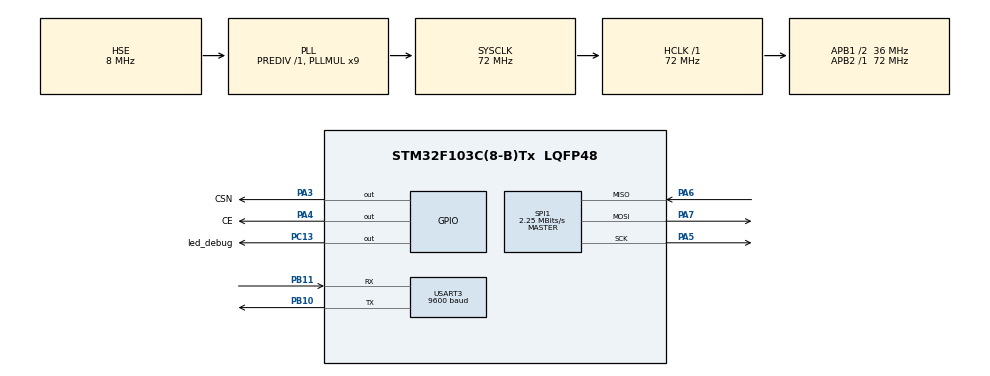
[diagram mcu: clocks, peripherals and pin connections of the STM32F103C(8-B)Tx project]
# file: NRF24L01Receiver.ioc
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Mcu.Family=STM32F1
Mcu.Name=STM32F103C(8-B)Tx
Mcu.Package=LQFP48
NVIC.PriorityGroup=NVIC_PRIORITYGROUP_4
PA13.Mode=Serial_Wire
PA13.Signal=SYS_JTMS-SWDIO
PA14.Mode=Serial_Wire
PA14.Signal=SYS_JTCK-SWCLK
PA3.GPIO_Label=CSN
PA3.Signal=GPIO_Output
PA4.GPIO_Label=CE
PA4.Signal=GPIO_Output
PA5.Mode=Full_Duplex_Master
PA5.Signal=SPI1_SCK
PA6.Mode=Full_Duplex_Master
PA6.Signal=SPI1_MISO
PA7.Mode=Full_Duplex_Master
PA7.Signal=SPI1_MOSI
PB10.Mode=Asynchronous
PB10.Signal=USART3_TX
PB11.Mode=Asynchronous
PB11.Signal=USART3_RX
PC13-TAMPER-RTC.GPIO_Label=led_debug
PC13-TAMPER-RTC.Signal=GPIO_Output
PD0-OSC_IN.Mode=HSE-External-Oscillator
PD0-OSC_IN.Signal=RCC_OSC_IN
PD1-OSC_OUT.Mode=HSE-External-Oscillator
PD1-OSC_OUT.Signal=RCC_OSC_OUT
ProjectManager.HeapSize=0x200
ProjectManager.StackSize=0x400
ProjectManager.TargetToolchain=STM32CubeIDE
RCC.AHBFreq_Value=72000000
RCC.APB1CLKDivider=RCC_HCLK_DIV2
RCC.APB1Freq_Value=36000000
RCC.APB1TimFreq_Value=72000000
RCC.APB2Freq_Value=72000000
RCC.APB2TimFreq_Value=72000000
RCC.HCLKFreq_Value=72000000
RCC.PLLMUL=RCC_PLL_MUL9
RCC.PLLSourceVirtual=RCC_PLLSOURCE_HSE
RCC.SYSCLKFreq_VALUE=72000000
RCC.SYSCLKSource=RCC_SYSCLKSOURCE_PLLCLK
RCC.USBFreq_Value=72000000
SPI1.BaudRatePrescaler=SPI_BAUDRATEPRESCALER_32
SPI1.CalculateBaudRate=2.25 MBits/s
SPI1.Direction=SPI_DIRECTION_2LINES
SPI1.Mode=SPI_MODE_MASTER
SPI1.VirtualType=VM_MASTER
USART3.BaudRate=9600
USART3.VirtualMode=VM_ASYNC
board=custom

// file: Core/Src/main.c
/* USER CODE BEGIN Header */
/**
  ******************************************************************************
  * @file           : main.c
  * @brief          : Main program body
  ******************************************************************************
  * @attention
  *
  * Copyright (c) 2023 STMicroelectronics.
  * All rights reserved.
  *
  * This software is licensed under terms that can be found in the LICENSE file
  * in the root directory of this software component.
  * If no LICENSE file comes with this software, it is provided AS-IS.
  *
  ******************************************************************************
  */
/* USER CODE END Header */
#include "main.h"

/* USER CODE BEGIN Includes */
#include "MY_NRF24.h"
/* USER CODE END Includes */

SPI_HandleTypeDef hspi1;

UART_HandleTypeDef huart3;

void SystemClock_Config(void);
static void MX_GPIO_Init(void);
static void MX_SPI1_Init(void);
static void MX_USART3_UART_Init(void);

/* USER CODE BEGIN 0 */
uint64_t RxpipeAddrs = 122;
char RxData[50];
/* USER CODE END 0 */

int main(void)
{

  /* MCU Configuration--------------------------------------------------------*/

  /* Reset of all peripherals, Initializes the Flash interface and the Systick. */
  HAL_Init();

  /* Configure the system clock */
  SystemClock_Config();

  /* Initialize all configured peripherals */
  MX_GPIO_Init();
  MX_SPI1_Init();
  MX_USART3_UART_Init();
  /* USER CODE BEGIN 2 */
  /***********NRF Ayarlari****************/
  NRF24_begin(CE_GPIO_Port, CSN_Pin, CE_Pin, hspi1);
  nrf24_DebugUART_Init(huart3);
  NRF24_setAutoAck(false);
  NRF24_setChannel(34);
  NRF24_openReadingPipe(1, RxpipeAddrs);
  NRF24_startListening();
  /* USER CODE END 2 */

  /* Infinite loop */
  while (1)
  {

    /* USER CODE BEGIN 3 */
	if(NRF24_available())
	{
		if (NRF24_read(RxData, 32))
		{
			//HAL_UART_Transmit(&huart3, (uint8_t *)RxData, 32, 10);
			HAL_UART_Transmit(&huart3, (uint8_t *)RxData, 12, 20);
			HAL_UART_Transmit(&huart3, (uint8_t *)"Veri Geliyor\r\n", 32, 20);
			HAL_GPIO_WritePin(led_debug_GPIO_Port, led_debug_Pin, 0);
			HAL_Delay(1000);
		}
	}
	HAL_GPIO_WritePin(led_debug_GPIO_Port, led_debug_Pin, 1);
	HAL_Delay(1000);
  }
  /* USER CODE END 3 */
}

void SystemClock_Config(void)
{
  RCC_OscInitTypeDef RCC_OscInitStruct = {0};
  RCC_ClkInitTypeDef RCC_ClkInitStruct = {0};

  /** Initializes the RCC Oscillators according to the specified parameters
  * in the RCC_OscInitTypeDef structure.
  */
  RCC_OscInitStruct.OscillatorType = RCC_OSCILLATORTYPE_HSE;
  RCC_OscInitStruct.HSEState = RCC_HSE_ON;
  RCC_OscInitStruct.HSEPredivValue = RCC_HSE_PREDIV_DIV1;
  RCC_OscInitStruct.HSIState = RCC_HSI_ON;
  RCC_OscInitStruct.PLL.PLLState = RCC_PLL_ON;
  RCC_OscInitStruct.PLL.PLLSource = RCC_PLLSOURCE_HSE;
  RCC_OscInitStruct.PLL.PLLMUL = RCC_PLL_MUL9;
  if (HAL_RCC_OscConfig(&RCC_OscInitStruct) != HAL_OK)
  {
    Error_Handler();
  }
  /** Initializes the CPU, AHB and APB buses clocks
  */
  RCC_ClkInitStruct.ClockType = RCC_CLOCKTYPE_HCLK|RCC_CLOCKTYPE_SYSCLK
                              |RCC_CLOCKTYPE_PCLK1|RCC_CLOCKTYPE_PCLK2;
  RCC_ClkInitStruct.SYSCLKSource = RCC_SYSCLKSOURCE_PLLCLK;
  RCC_ClkInitStruct.AHBCLKDivider = RCC_SYSCLK_DIV1;
  RCC_ClkInitStruct.APB1CLKDivider = RCC_HCLK_DIV2;
  RCC_ClkInitStruct.APB2CLKDivider = RCC_HCLK_DIV1;

  if (HAL_RCC_ClockConfig(&RCC_ClkInitStruct, FLASH_LATENCY_2) != HAL_OK)
  {
    Error_Handler();
  }
}

static void MX_SPI1_Init(void)
{

  /* SPI1 parameter configuration*/
  hspi1.Instance = SPI1;
  hspi1.Init.Mode = SPI_MODE_MASTER;
  hspi1.Init.Direction = SPI_DIRECTION_2LINES;
  hspi1.Init.DataSize = SPI_DATASIZE_8BIT;
  hspi1.Init.CLKPolarity = SPI_POLARITY_LOW;
  hspi1.Init.CLKPhase = SPI_PHASE_1EDGE;
  hspi1.Init.NSS = SPI_NSS_SOFT;
  hspi1.Init.BaudRatePrescaler = SPI_BAUDRATEPRESCALER_32;
  hspi1.Init.FirstBit = SPI_FIRSTBIT_MSB;
  hspi1.Init.TIMode = SPI_TIMODE_DISABLE;
  hspi1.Init.CRCCalculation = SPI_CRCCALCULATION_DISABLE;
  hspi1.Init.CRCPolynomial = 10;
  if (HAL_SPI_Init(&hspi1) != HAL_OK)
  {
    Error_Handler();
  }

}

static void MX_USART3_UART_Init(void)
{

  huart3.Instance = USART3;
  huart3.Init.BaudRate = 9600;
  huart3.Init.WordLength = UART_WORDLENGTH_8B;
  huart3.Init.StopBits = UART_STOPBITS_1;
  huart3.Init.Parity = UART_PARITY_NONE;
  huart3.Init.Mode = UART_MODE_TX_RX;
  huart3.Init.HwFlowCtl = UART_HWCONTROL_NONE;
  huart3.Init.OverSampling = UART_OVERSAMPLING_16;
  if (HAL_UART_Init(&huart3) != HAL_OK)
  {
    Error_Handler();
  }

}

static void MX_GPIO_Init(void)
{
  GPIO_InitTypeDef GPIO_InitStruct = {0};

  /* GPIO Ports Clock Enable */
  __HAL_RCC_GPIOC_CLK_ENABLE();
  __HAL_RCC_GPIOD_CLK_ENABLE();
  __HAL_RCC_GPIOA_CLK_ENABLE();
  __HAL_RCC_GPIOB_CLK_ENABLE();

  /*Configure GPIO pin Output Level */
  HAL_GPIO_WritePin(led_debug_GPIO_Port, led_debug_Pin, GPIO_PIN_RESET);

  /*Configure GPIO pin Output Level */
  HAL_GPIO_WritePin(GPIOA, CSN_Pin|CE_Pin, GPIO_PIN_RESET);

  /*Configure GPIO pin : led_debug_Pin */
  GPIO_InitStruct.Pin = led_debug_Pin;
  GPIO_InitStruct.Mode = GPIO_MODE_OUTPUT_PP;
  GPIO_InitStruct.Pull = GPIO_NOPULL;
  GPIO_InitStruct.Speed = GPIO_SPEED_FREQ_LOW;
  HAL_GPIO_Init(led_debug_GPIO_Port, &GPIO_InitStruct);

  /*Configure GPIO pins : CSN_Pin CE_Pin */
  GPIO_InitStruct.Pin = CSN_Pin|CE_Pin;
  GPIO_InitStruct.Mode = GPIO_MODE_OUTPUT_PP;
  GPIO_InitStruct.Pull = GPIO_NOPULL;
  GPIO_InitStruct.Speed = GPIO_SPEED_FREQ_LOW;
  HAL_GPIO_Init(GPIOA, &GPIO_InitStruct);

}

void Error_Handler(void)
{
  __disable_irq();
  while (1)
  {
  }
}
